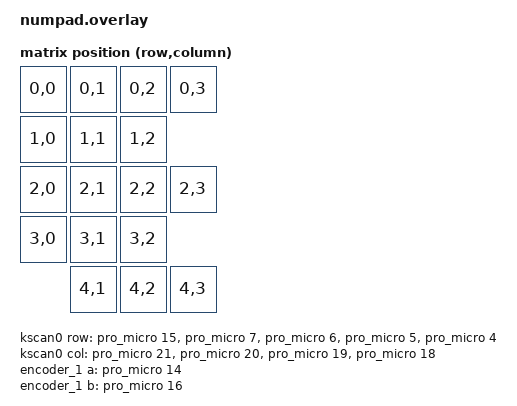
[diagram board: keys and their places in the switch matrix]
#include <dt-bindings/zmk/matrix_transform.h>

/ {
    kscan0: kscan {
        compatible = "zmk,kscan-gpio-matrix";
        diode-direction = "col2row";
        wakeup-source;

        row-gpios
            = <&pro_micro 15 (GPIO_ACTIVE_HIGH | GPIO_PULL_DOWN)>
            , <&pro_micro 7 (GPIO_ACTIVE_HIGH | GPIO_PULL_DOWN)>
            , <&pro_micro 6 (GPIO_ACTIVE_HIGH | GPIO_PULL_DOWN)>
            , <&pro_micro 5 (GPIO_ACTIVE_HIGH | GPIO_PULL_DOWN)>
            , <&pro_micro 4 (GPIO_ACTIVE_HIGH | GPIO_PULL_DOWN)>
            ;

        col-gpios
            = <&pro_micro 21 (GPIO_ACTIVE_HIGH | GPIO_PULL_DOWN)>
            , <&pro_micro 20 (GPIO_ACTIVE_HIGH | GPIO_PULL_DOWN)>
            , <&pro_micro 19 (GPIO_ACTIVE_HIGH | GPIO_PULL_DOWN)>
            , <&pro_micro 18 (GPIO_ACTIVE_HIGH | GPIO_PULL_DOWN)>
            ;
    };

    default_transform: keymap_transform0 {
        compatible = "zmk,matrix-transform";
        columns = <4>;
        rows = <5>;
        map = <
            RC(0,0) RC(0,1) RC(0,2) RC(0,3)
            RC(1,0) RC(1,1) RC(1,2)
            RC(2,0) RC(2,1) RC(2,2) RC(2,3)
            RC(3,0) RC(3,1) RC(3,2)
                    RC(4,1) RC(4,2) RC(4,3)
        >;
    };

 encoder_1: encoder_1 {
        compatible = "alps,ec11";
        a-gpios = <&pro_micro 14 (GPIO_ACTIVE_LOW | GPIO_PULL_UP)>;
        b-gpios = <&pro_micro 16 (GPIO_ACTIVE_LOW | GPIO_PULL_UP)>;
        steps = <80>;
        status = "disabled";
    };

sensors: sensors {
        compatible = "zmk,keymap-sensors";
        triggers-per-rotation = <20>;
    };

    chosen {
        zmk,kscan = &kscan0;
        zmk,matrix-transform = &default_transform;
    };
};
